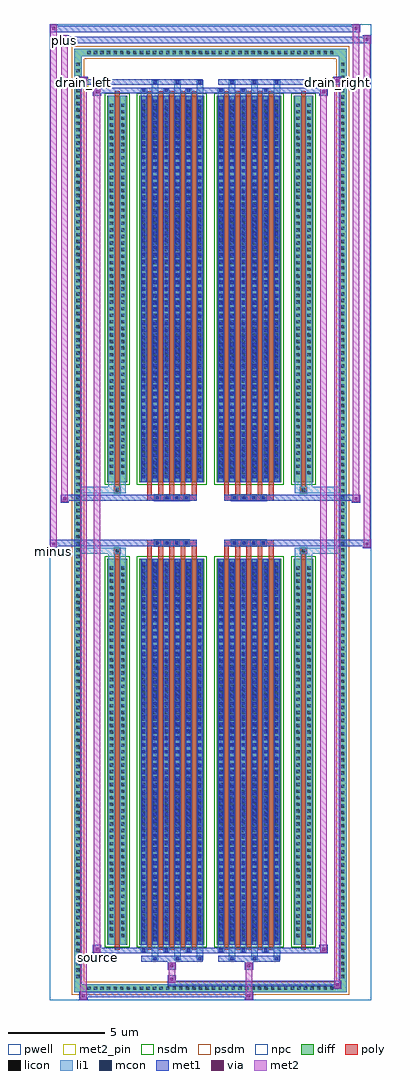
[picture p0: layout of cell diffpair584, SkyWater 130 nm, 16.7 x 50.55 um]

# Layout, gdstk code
import gdstk
lib = gdstk.Library(unit=1e-6, precision=5e-09)
def R(c, l, rs):  # rectangles x0, y0, x1, y1
    for r in rs: c.add(gdstk.rectangle(r[:2], r[2:], *l))
def A(c, l, x, y, w, h, nx, ny, dx, dy):  # array of equal rectangles
    R(c, l, [(x+i*dx, y+j*dy, x+i*dx+w, y+j*dy+h) for i in range(nx) for j in range(ny)])
def P(c, l, *ps):  # polygons
    for p in ps: c.add(gdstk.Polygon(p, *l))
pwell = (64, 44)
diff = (65, 20)
poly = (66, 20)
licon = (66, 44)
li1 = (67, 20)
mcon = (67, 44)
met1 = (68, 20)
via = (68, 44)
met2_pin = (69, 16)
met2 = (69, 20)
nsdm = (93, 44)
psdm = (94, 20)
npc = (95, 20)

diffpair584 = lib.new_cell('diffpair584')
R(diffpair584, pwell, [(-8.33,-24.84,8.33,25.71), (-5.65,-23.03,-0.01,-0.805), (0.01,-23.03,5.65,-0.805), (-5.65,0.805,-0.01,23.03), (0.01,0.805,5.65,23.03)])
A(diffpair584, diff, -6.495, -24.44, 0.41, 0.41, 38, 2, 0.34, 48.47)
A(diffpair584, diff, -7.06, -23.835, 0.41, 0.41, 1, 140, 0, 0.34)
A(diffpair584, diff, 6.65, -23.835, 0.41, 0.41, 1, 140, 0, 0.34)
R(diffpair584, diff, [(-6.495,-24.44,6.495,-24.03), (-7.06,-23.835,-6.65,23.835), (6.65,-23.835,7.06,23.835), (-5.34,-21.985,-4.31,-1.985), (-3.67,-21.985,-0.32,-1.985), (0.32,-21.985,3.67,-1.985), (4.31,-21.985,5.34,-1.985), (-5.34,1.985,-4.31,21.985), (-3.67,1.985,-0.32,21.985), (0.32,1.985,3.67,21.985), (4.31,1.985,5.34,21.985), (-6.495,24.03,6.495,24.44)])
P(diffpair584, diff, [(7.06,24.44),(-7.06,24.44),(-7.06,-24.03),(-6.65,-24.03),(-6.65,24.03),(6.65,24.03),(6.65,-24.03),(-6.65,-24.03),(-7.06,-24.03),(-7.06,-24.44),(7.06,-24.44)])
A(diffpair584, poly, -3.28, -22.235, 0.25, 20.5, 5, 2, 0.58, 23.97)
A(diffpair584, poly, 0.71, -22.235, 0.25, 20.5, 5, 2, 0.58, 23.97)
A(diffpair584, poly, -3.28, -1.735, 0.25, 0.4, 5, 2, 0.58, 3.07)
A(diffpair584, poly, 0.71, -1.735, 0.25, 0.4, 5, 2, 0.58, 3.07)
A(diffpair584, poly, -2.91, -1.335, 0.33, 0.33, 4, 2, 0.5, 2.34)
A(diffpair584, poly, 1.08, -1.335, 0.33, 0.33, 4, 2, 0.5, 2.34)
R(diffpair584, poly, [(-4.95,-22.235,-4.7,-1.735), (4.7,-22.235,4.95,-1.735), (-4.99,-1.735,-4.66,-1.405), (-4.99,-1.735,-4.66,-1.405), (4.66,-1.735,4.99,-1.405), (4.66,-1.735,4.99,-1.405), (-3.28,-1.335,-0.71,-1.005), (0.71,-1.335,3.28,-1.005), (-3.28,1.005,-0.71,1.335), (0.71,1.005,3.28,1.335), (-4.99,1.405,-4.66,1.735), (-4.99,1.405,-4.66,1.735), (4.66,1.405,4.99,1.735), (4.66,1.405,4.99,1.735), (-4.95,1.735,-4.7,22.235), (4.7,1.735,4.95,22.235)])
A(diffpair584, licon, -6.375, -24.32, 0.17, 0.17, 38, 2, 0.34, 48.47)
A(diffpair584, licon, -6.94, -23.715, 0.17, 0.17, 1, 140, 0, 0.34)
A(diffpair584, licon, 6.77, -23.715, 0.17, 0.17, 1, 140, 0, 0.34)
A(diffpair584, licon, -5.2, -21.59, 0.17, 0.17, 1, 57, 0, 0.34)
A(diffpair584, licon, -4.62, -21.59, 0.17, 0.17, 1, 57, 0, 0.34)
A(diffpair584, licon, -3.53, -21.59, 0.17, 0.17, 6, 57, 0.58, 0.34)
A(diffpair584, licon, 0.46, -21.59, 0.17, 0.17, 6, 57, 0.58, 0.34)
A(diffpair584, licon, 4.45, -21.59, 0.17, 0.17, 1, 57, 0, 0.34)
A(diffpair584, licon, 5.03, -21.59, 0.17, 0.17, 1, 57, 0, 0.34)
A(diffpair584, licon, -2.83, -1.255, 0.17, 0.17, 4, 2, 0.5, 2.34)
A(diffpair584, licon, 1.16, -1.255, 0.17, 0.17, 4, 2, 0.5, 2.34)
A(diffpair584, licon, -5.2, 2.38, 0.17, 0.17, 1, 57, 0, 0.34)
A(diffpair584, licon, -4.62, 2.38, 0.17, 0.17, 1, 57, 0, 0.34)
A(diffpair584, licon, -3.53, 2.38, 0.17, 0.17, 6, 57, 0.58, 0.34)
A(diffpair584, licon, 0.46, 2.38, 0.17, 0.17, 6, 57, 0.58, 0.34)
A(diffpair584, licon, 4.45, 2.38, 0.17, 0.17, 1, 57, 0, 0.34)
A(diffpair584, licon, 5.03, 2.38, 0.17, 0.17, 1, 57, 0, 0.34)
R(diffpair584, licon, [(-4.91,-1.655,-4.74,-1.485), (4.74,-1.655,4.91,-1.485), (-4.91,1.485,-4.74,1.655), (4.74,1.485,4.91,1.655)])
A(diffpair584, li1, -6.455, -24.4, 0.33, 0.33, 38, 2, 0.34, 48.47)
A(diffpair584, li1, -7.02, -23.795, 0.33, 0.33, 1, 140, 0, 0.34)
A(diffpair584, li1, 6.69, -23.795, 0.33, 0.33, 1, 140, 0, 0.34)
A(diffpair584, li1, -3.03, -22.79, 0.33, 0.805, 3, 2, 1.16, 44.775)
A(diffpair584, li1, -2.95, -22.79, 0.17, 0.17, 3, 2, 1.16, 45.41)
A(diffpair584, li1, 0.96, -22.79, 0.33, 0.805, 3, 2, 1.16, 44.775)
A(diffpair584, li1, 1.04, -22.79, 0.17, 0.17, 3, 2, 1.16, 45.41)
A(diffpair584, li1, -3.61, -22.36, 0.33, 0.375, 3, 2, 1.16, 44.345)
A(diffpair584, li1, -3.53, -22.36, 0.17, 0.17, 3, 2, 1.16, 44.55)
A(diffpair584, li1, 0.38, -22.36, 0.33, 0.375, 3, 2, 1.16, 44.345)
A(diffpair584, li1, 0.46, -22.36, 0.17, 0.17, 3, 2, 1.16, 44.55)
A(diffpair584, li1, -3.61, -21.985, 0.33, 20, 6, 2, 0.58, 23.97)
A(diffpair584, li1, 0.38, -21.985, 0.33, 20, 6, 2, 0.58, 23.97)
A(diffpair584, li1, -3.53, -21.79, 0.17, 0.17, 6, 55, 0.58, 0.36)
A(diffpair584, li1, -3.53, -21.79, 0.17, 19.61, 6, 2, 0.58, 23.97)
A(diffpair584, li1, 0.46, -21.79, 0.17, 0.17, 6, 55, 0.58, 0.36)
A(diffpair584, li1, 0.46, -21.79, 0.17, 19.61, 6, 2, 0.58, 23.97)
A(diffpair584, li1, -5.28, -21.67, 0.33, 0.33, 1, 57, 0, 0.34)
A(diffpair584, li1, -4.7, -21.67, 0.33, 0.33, 1, 57, 0, 0.34)
A(diffpair584, li1, -3.61, -21.67, 0.33, 0.33, 6, 57, 0.58, 0.34)
A(diffpair584, li1, 0.38, -21.67, 0.33, 0.33, 6, 57, 0.58, 0.34)
A(diffpair584, li1, 4.37, -21.67, 0.33, 0.33, 1, 57, 0, 0.34)
A(diffpair584, li1, 4.95, -21.67, 0.33, 0.33, 1, 57, 0, 0.34)
A(diffpair584, li1, -2.91, -1.335, 0.33, 0.33, 4, 2, 0.5, 2.34)
A(diffpair584, li1, 1.08, -1.335, 0.33, 0.33, 4, 2, 0.5, 2.34)
A(diffpair584, li1, -3.53, 2.18, 0.17, 0.17, 6, 55, 0.58, 0.36)
A(diffpair584, li1, 0.46, 2.18, 0.17, 0.17, 6, 55, 0.58, 0.36)
A(diffpair584, li1, -5.28, 2.3, 0.33, 0.33, 1, 57, 0, 0.34)
A(diffpair584, li1, -4.7, 2.3, 0.33, 0.33, 1, 57, 0, 0.34)
A(diffpair584, li1, -3.61, 2.3, 0.33, 0.33, 6, 57, 0.58, 0.34)
A(diffpair584, li1, 0.38, 2.3, 0.33, 0.33, 6, 57, 0.58, 0.34)
A(diffpair584, li1, 4.37, 2.3, 0.33, 0.33, 1, 57, 0, 0.34)
A(diffpair584, li1, 4.95, 2.3, 0.33, 0.33, 1, 57, 0, 0.34)
R(diffpair584, li1, [(-7.06,-24.44,-6.65,-24.03), (-7.06,-24.44,-6.65,-24.03), (-6.65,-24.44,6.65,-24.03), (6.65,-24.44,7.06,-24.03), (6.65,-24.44,7.06,-24.03), (-7.06,-24.03,-6.65,24.03), (6.65,-24.03,7.06,24.03), (-5.28,-21.985,-4.95,-1.985), (-4.7,-21.985,-4.37,-1.985), (4.37,-21.985,4.7,-1.985), (4.95,-21.985,5.28,-1.985), (-5.28,-1.985,-4.95,-1.405), (-4.7,-1.985,-4.37,-1.405), (4.37,-1.985,4.7,-1.405), (4.95,-1.985,5.28,-1.405), (-7.06,-1.735,-4.99,-1.405), (-5.28,-1.735,-4.99,-1.405), (-4.99,-1.735,-4.66,-1.405), (-4.66,-1.735,-4.37,-1.405), (4.37,-1.735,4.66,-1.405), (4.66,-1.735,4.99,-1.405), (4.66,-1.735,7.06,-1.405), (4.99,-1.735,5.28,-1.405), (-7.06,1.405,-4.99,1.735), (-5.28,1.405,-4.99,1.735), (-5.28,1.405,-4.95,1.985), (-4.99,1.405,-4.66,1.735), (-4.7,1.405,-4.37,1.985), (-4.66,1.405,-4.37,1.735), (4.37,1.405,4.66,1.735), (4.37,1.405,4.7,1.985), (4.66,1.405,4.99,1.735), (4.66,1.405,7.06,1.735), (4.95,1.405,5.28,1.985), (4.99,1.405,5.28,1.735), (-5.28,1.985,-4.95,21.985), (-4.7,1.985,-4.37,21.985), (4.37,1.985,4.7,21.985), (4.95,1.985,5.28,21.985), (-7.06,24.03,-6.65,24.44), (-7.06,24.03,-6.65,24.44), (-6.65,24.03,6.65,24.44), (6.65,24.03,7.06,24.44), (6.65,24.03,7.06,24.44)])
A(diffpair584, mcon, -2.95, -22.79, 0.17, 0.17, 3, 2, 1.16, 45.41)
A(diffpair584, mcon, 1.04, -22.79, 0.17, 0.17, 3, 2, 1.16, 45.41)
A(diffpair584, mcon, -3.53, -22.36, 0.17, 0.17, 3, 2, 1.16, 44.55)
A(diffpair584, mcon, 0.46, -22.36, 0.17, 0.17, 3, 2, 1.16, 44.55)
A(diffpair584, mcon, -3.53, -21.79, 0.17, 0.17, 6, 55, 0.58, 0.36)
A(diffpair584, mcon, 0.46, -21.79, 0.17, 0.17, 6, 55, 0.58, 0.36)
A(diffpair584, mcon, -2.83, -1.255, 0.17, 0.17, 4, 2, 0.5, 2.34)
A(diffpair584, mcon, 1.16, -1.255, 0.17, 0.17, 4, 2, 0.5, 2.34)
A(diffpair584, mcon, -3.53, 2.18, 0.17, 0.17, 6, 55, 0.58, 0.36)
A(diffpair584, mcon, 0.46, 2.18, 0.17, 0.17, 6, 55, 0.58, 0.36)
A(diffpair584, met1, -3.01, -22.85, 0.29, 0.29, 3, 2, 1.16, 45.41)
A(diffpair584, met1, 0.98, -22.85, 0.29, 0.29, 3, 2, 1.16, 45.41)
A(diffpair584, met1, -3.59, -22.42, 0.29, 0.29, 3, 2, 1.16, 44.55)
A(diffpair584, met1, 0.4, -22.42, 0.29, 0.29, 3, 2, 1.16, 44.55)
A(diffpair584, met1, -3.59, -21.985, 0.29, 20, 6, 2, 0.58, 23.97)
A(diffpair584, met1, 0.4, -21.985, 0.29, 20, 6, 2, 0.58, 23.97)
A(diffpair584, met1, -3.59, -21.85, 0.29, 0.29, 6, 55, 0.58, 0.36)
A(diffpair584, met1, 0.4, -21.85, 0.29, 0.29, 6, 55, 0.58, 0.36)
A(diffpair584, met1, -2.89, -1.315, 0.29, 0.29, 4, 2, 0.5, 2.34)
A(diffpair584, met1, 1.1, -1.315, 0.29, 0.29, 4, 2, 0.5, 2.34)
A(diffpair584, met1, -3.59, 2.12, 0.29, 0.29, 6, 55, 0.58, 0.36)
A(diffpair584, met1, 0.4, 2.12, 0.29, 0.29, 6, 55, 0.58, 0.36)
R(diffpair584, met1, [(-6.79,-24.84,-6.36,-24.41), (1.78,-24.84,2.21,-24.41), (-6.79,-24.7,2.21,-24.41), (6.36,-24.27,6.79,-23.84), (-2.21,-24.13,6.79,-23.84), (-2.21,-23.99,-1.78,-23.56), (-2.21,-23.28,-1.78,-22.85), (1.78,-23.28,2.21,-22.85), (-3.59,-22.85,-0.4,-22.56), (0.4,-22.85,3.59,-22.56), (-6.08,-22.42,-5.65,-21.99), (-6.08,-22.42,-3.59,-22.13), (-3.59,-22.42,-0.4,-22.13), (-0.4,-22.42,0.4,-22.13), (0.4,-22.42,3.59,-22.13), (3.59,-22.42,6.08,-22.13), (5.65,-22.42,6.08,-21.99), (-8.33,-1.435,-7.9,-1.005), (7.9,-1.435,8.33,-1.005), (-8.33,-1.335,-0.71,-1.005), (-3.28,-1.335,-0.71,-1.005), (0.71,-1.335,3.28,-1.005), (0.71,-1.335,8.33,-1.005), (-7.76,0.905,-7.33,1.335), (7.33,0.905,7.76,1.335), (-7.76,1.005,-3.28,1.335), (-3.28,1.005,-0.71,1.335), (0.71,1.005,3.28,1.335), (3.28,1.005,7.76,1.335), (-6.08,21.99,-5.65,22.42), (5.65,21.99,6.08,22.42), (-6.08,22.13,-3.59,22.42), (-3.59,22.13,-0.4,22.42), (-0.4,22.13,0.4,22.42), (0.4,22.13,3.59,22.42), (3.59,22.13,6.08,22.42), (-6.79,22.56,-6.36,22.99), (-6.79,22.56,-3.59,22.85), (-3.59,22.56,-0.4,22.85), (0.4,22.56,3.59,22.85), (3.59,22.56,6.79,22.85), (6.36,22.56,6.79,22.99), (-7.76,24.71,-7.33,25.14), (-7.76,24.71,-5.65,25.04), (-5.65,24.71,5.65,25.04), (5.65,24.71,8.33,25.04), (7.9,24.71,8.33,25.14), (-8.33,25.28,-7.9,25.71), (-8.33,25.28,-5.65,25.61), (-5.65,25.28,5.65,25.61), (5.65,25.28,7.76,25.61), (7.33,25.28,7.76,25.71)])
R(diffpair584, via, [(-6.65,-24.7,-6.5,-24.55), (1.92,-24.7,2.07,-24.55), (6.5,-24.13,6.65,-23.98), (-2.07,-23.85,-1.92,-23.7), (-2.07,-23.14,-1.92,-22.99), (1.92,-23.14,2.07,-22.99), (-5.94,-22.28,-5.79,-22.13), (5.79,-22.28,5.94,-22.13), (-8.19,-1.295,-8.04,-1.145), (8.04,-1.295,8.19,-1.145), (-7.62,1.045,-7.47,1.195), (7.47,1.045,7.62,1.195), (-5.94,22.13,-5.79,22.28), (5.79,22.13,5.94,22.28), (-6.65,22.7,-6.5,22.85), (6.5,22.7,6.65,22.85), (-7.62,24.85,-7.47,25), (8.04,24.85,8.19,25), (-8.19,25.42,-8.04,25.57), (7.47,25.42,7.62,25.57)])
R(diffpair584, met2_pin, [(-6.115,-22.87,-5.615,-22.37), (-8.365,-1.885,-7.865,-1.385), (-6.825,22.44,-6.325,22.94), (6.325,22.44,6.825,22.94), (-7.795,24.59,-7.295,25.09)])
R(diffpair584, met2, [(-6.74,-24.79,-6.41,-24.46), (-6.74,-24.79,-6.41,22.94), (1.83,-24.79,2.16,-24.46), (1.83,-24.46,2.16,-23.23), (6.41,-24.22,6.74,-23.89), (6.41,-24.22,6.74,22.94), (-2.16,-23.94,-1.83,-23.61), (-2.16,-23.61,-1.83,-23.23), (-2.16,-23.23,-1.83,-22.9), (1.83,-23.23,2.16,-22.9), (-6.03,-22.37,-5.7,-22.04), (-6.03,-22.37,-5.7,22.37), (5.7,-22.37,6.03,-22.04), (5.7,-22.37,6.03,22.37), (-8.28,-1.385,-7.95,-1.055), (-8.28,-1.385,-7.95,25.66), (7.95,-1.385,8.28,-1.055), (7.95,-1.385,8.28,25.09), (-7.71,0.955,-7.38,1.285), (-7.71,0.955,-7.38,25.09), (7.38,0.955,7.71,1.285), (7.38,0.955,7.71,25.66), (-6.03,22.04,-5.7,22.37), (5.7,22.04,6.03,22.37), (-6.74,22.61,-6.41,22.94), (6.41,22.61,6.74,22.94), (-7.71,24.76,-7.38,25.09), (7.95,24.76,8.28,25.09), (-8.28,25.33,-7.95,25.66), (7.38,25.33,7.71,25.66)])
P(diffpair584, met2, [(8.28,-1.385),(8.28,-1.385),(8.28,-1.055),(8.28,-1.055)],
  [(8.28,24.76),(8.28,24.76),(8.28,25.09),(8.28,25.09)],
  [(-7.95,-1.385),(-7.95,-1.385),(-7.95,-1.055),(-7.95,-1.055)],
  [(-7.95,25.33),(-7.95,25.33),(-7.95,25.66),(-7.95,25.66)],
  [(7.71,0.955),(7.71,0.955),(7.71,1.285),(7.71,1.285)],
  [(7.71,25.33),(7.71,25.33),(7.71,25.66),(7.71,25.66)],
  [(-7.38,0.955),(-7.38,0.955),(-7.38,1.285),(-7.38,1.285)],
  [(-7.38,24.76),(-7.38,24.76),(-7.38,25.09),(-7.38,25.09)],
  [(-6.41,-24.79),(-6.41,-24.79),(-6.41,-24.46),(-6.41,-24.46)],
  [(-6.41,22.61),(-6.41,22.61),(-6.41,22.94),(-6.41,22.94)],
  [(6.74,-24.22),(6.74,-24.22),(6.74,-23.89),(6.74,-23.89)],
  [(6.74,22.61),(6.74,22.61),(6.74,22.94),(6.74,22.94)],
  [(-5.7,-22.37),(-5.7,-22.37),(-5.7,-22.04),(-5.7,-22.04)],
  [(-5.7,22.04),(-5.7,22.04),(-5.7,22.37),(-5.7,22.37)],
  [(6.03,-22.37),(6.03,-22.37),(6.03,-22.04),(6.03,-22.04)],
  [(6.03,22.04),(6.03,22.04),(6.03,22.37),(6.03,22.37)])
R(diffpair584, nsdm, [(-5.47,-22.115,-4.18,-1.855), (-3.8,-22.115,-0.19,-1.855), (0.19,-22.115,3.8,-1.855), (4.18,-22.115,5.47,-1.855), (-5.47,1.855,-4.18,22.115), (-3.8,1.855,-0.19,22.115), (0.19,1.855,3.8,22.115), (4.18,1.855,5.47,22.115)])
P(diffpair584, psdm, [(7.19,24.57),(-7.19,24.57),(-7.19,-23.9),(-6.52,-23.9),(-6.52,23.9),(6.52,23.9),(6.52,-23.9),(-6.52,-23.9),(-7.19,-23.9),(-7.19,-24.57),(7.19,-24.57)])
A(diffpair584, npc, -2.93, -1.355, 0.37, 0.37, 4, 2, 0.5, 2.34)
A(diffpair584, npc, 1.06, -1.355, 0.37, 0.37, 4, 2, 0.5, 2.34)
R(diffpair584, npc, [(-5.01,-1.755,-4.64,-1.385), (4.64,-1.755,5.01,-1.385), (-2.93,-1.355,-2.06,-0.985), (-2.93,-1.355,-2.06,-0.985), (-2.43,-1.355,-1.56,-0.985), (-2.43,-1.355,-1.56,-0.985), (-1.93,-1.355,-1.06,-0.985), (-1.93,-1.355,-1.06,-0.985), (1.06,-1.355,1.93,-0.985), (1.06,-1.355,1.93,-0.985), (1.56,-1.355,2.43,-0.985), (1.56,-1.355,2.43,-0.985), (2.06,-1.355,2.93,-0.985), (2.06,-1.355,2.93,-0.985), (-2.93,0.985,-2.06,1.355), (-2.93,0.985,-2.06,1.355), (-2.43,0.985,-1.56,1.355), (-2.43,0.985,-1.56,1.355), (-1.93,0.985,-1.06,1.355), (-1.93,0.985,-1.06,1.355), (1.06,0.985,1.93,1.355), (1.06,0.985,1.93,1.355), (1.56,0.985,2.43,1.355), (1.56,0.985,2.43,1.355), (2.06,0.985,2.93,1.355), (2.06,0.985,2.93,1.355), (-5.01,1.385,-4.64,1.755), (4.64,1.385,5.01,1.755)])
diffpair584.add(gdstk.Label('minus', (-8.115,-1.635), layer=69, texttype=5))
diffpair584.add(gdstk.Label('drain_right', (6.575,22.69), layer=69, texttype=5))
diffpair584.add(gdstk.Label('drain_left', (-6.575,22.69), layer=69, texttype=5))
diffpair584.add(gdstk.Label('source', (-5.865,-22.62), layer=69, texttype=5))
diffpair584.add(gdstk.Label('plus', (-7.545,24.84), layer=69, texttype=5))

lib.write_gds('diffpair584.gds')
